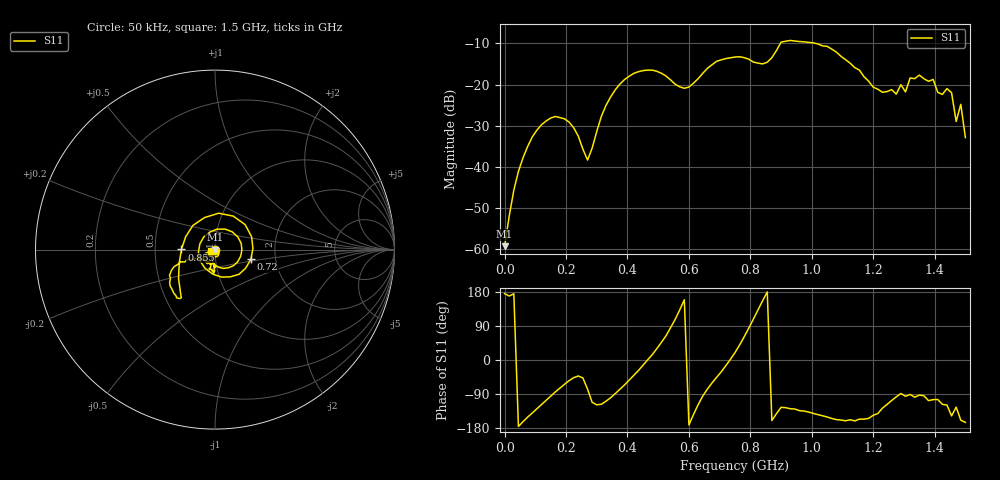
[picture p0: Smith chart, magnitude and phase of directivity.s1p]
! Created with skrf 1.8.0 (http://scikit-rf.org).
# Hz S RI R 50.0
!freq ReS11 ImS11
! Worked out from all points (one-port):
!   101 points, 50 kHz to 1.5 GHz, reference 50 ohm
!   lowest |S11| = -59.2 dB at 50 kHz (marker M1), VSWR 1.00, Z = 49.9 + j0.00898 ohm
!   |S11| at or under -10 dB: start of sweep to 897.7 MHz; 1.013 GHz to end of sweep
!   S11 on the Smith chart (normalised r, x): 50 kHz: 1.00, +0.00; 720 MHz: 1.49, -0.17; 855 MHz: 0.69, +0.00; 1.5 GHz: 0.96, -0.01
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50000  -0.00109 9e-05
3.0049e7  -0.00521 0.000485
7.50475e7  -0.0155 -0.0087
1.350455e8  -0.0103 -0.0347
1.950435e8  0.0168 -0.0346
2.250425e8  0.0206 -0.0217
2.70041e8  0.00273 -0.0118
3.30039e8  -0.018 -0.053
3.750375e8  0.022 -0.0988
4.80034e8  0.1459 0.0351
5.70031e8  -0.063 0.0697
6.60028e8  0.0359 -0.1532
7.20026e8  0.1999 -0.0539
7.50025e8  0.2039 0.0722
7.950235e8  0.0201 0.2026
8.550215e8  -0.1869 0.000886
9.0002e8  -0.1879 -0.269
9.450185e8  -0.2147 -0.2613
1.050015e9  -0.2537 -0.1443
1.125012e9  -0.1683 -0.0689
1.230009e9  -0.0486 -0.0645
1.290007e9  0.00279 -0.0998
1.305006e9  -0.00817 -0.0812
1.320006e9  -0.00182 -0.1204
1.455002e9  -0.0672 -0.043
1.470001e9  -0.0202 -0.0295
1.485e9  -0.0537 -0.021
1.5e9  -0.022 -0.006
